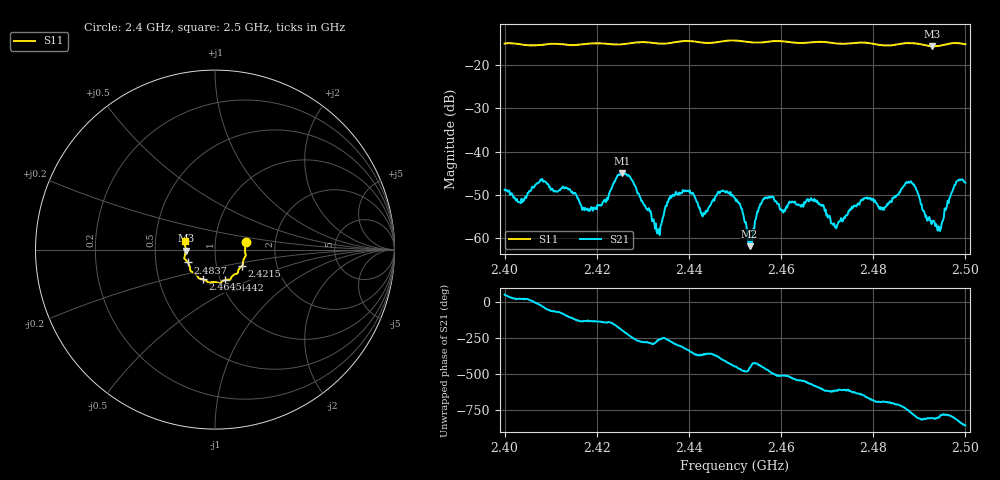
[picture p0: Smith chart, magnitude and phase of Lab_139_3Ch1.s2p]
# Hz S RI R 50
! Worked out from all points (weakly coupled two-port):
!   601 points, 2.4 GHz to 2.5 GHz, reference 50 ohm
!   highest |S21| = -45.01 dB at 2.4255 GHz (marker M1); lowest = -61.8 dB at 2.4532 GHz (marker M2)
!   lowest |S11| = -15.7 dB at 2.4928 GHz (marker M3), VSWR 1.39, Z = 36 - j0.376 ohm
!   |S11| at or under -10 dB: start of sweep to end of sweep
!   S12 and S22 are empty: the file has one direction only
!   S11 on the Smith chart (normalised r, x): 2.4 GHz: 1.41, +0.12; 2.4215 GHz: 1.33, -0.25; 2.4442 GHz: 1.05, -0.37; 2.4645 GHz: 0.83, -0.29; 2.4837 GHz: 0.73, -0.11; 2.5 GHz: 0.71, +0.07
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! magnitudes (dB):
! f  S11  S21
! 2.4 GHz  -15.1  -48.9
! 2.4033 GHz  -15.3  -51.7
! 2.4083 GHz  -15.4  -46.9
! 2.4167 GHz  -15.3  -52.6
! 2.4215 GHz  -15.1  -51.5
! 2.4255 GHz  -15.3  -45.0
! 2.4333 GHz  -15.1  -58.0
! 2.4368 GHz  -14.8  -50.2
! 2.4442 GHz  -15.0  -53.2
! 2.45 GHz  -14.4  -50.7
! 2.4532 GHz  -14.8  -61.8
! 2.4563 GHz  -14.8  -50.9
! 2.4645 GHz  -15.0  -52.2
! 2.4667 GHz  -14.8  -51.1
! 2.4717 GHz  -15.0  -57.4
! 2.4833 GHz  -15.6  -51.8
! 2.4837 GHz  -15.5  -51.4
! 2.4882 GHz  -15.0  -46.8
! 2.4928 GHz  -15.7  -55.9
! 2.4945 GHz  -15.6  -58.3
! 2.4978 GHz  -15.0  -47.7
! 2.5 GHz  -15.3  -47.2
